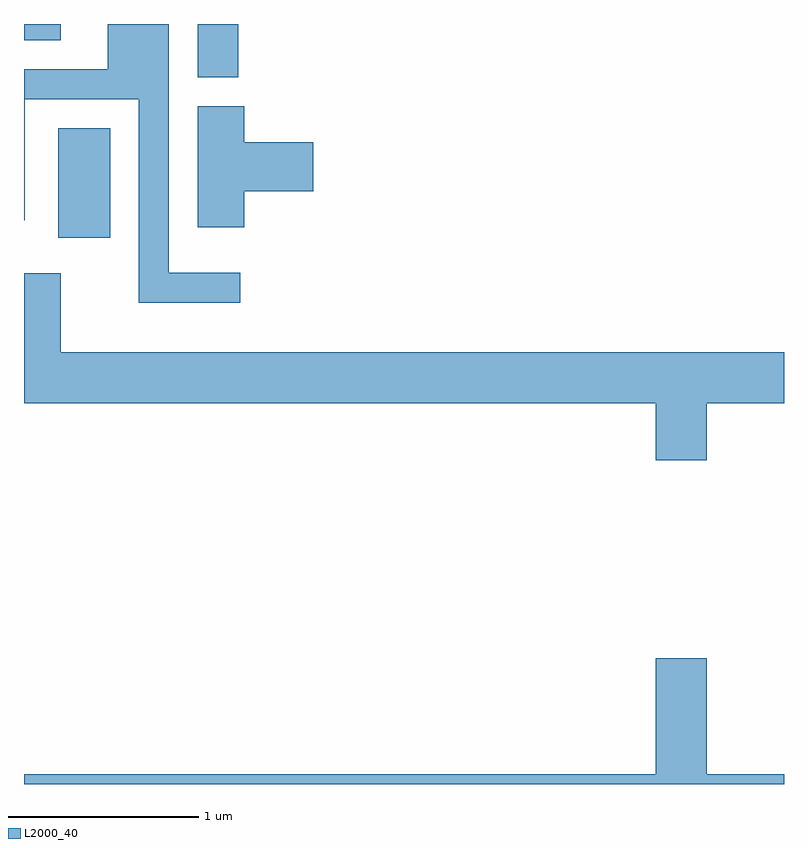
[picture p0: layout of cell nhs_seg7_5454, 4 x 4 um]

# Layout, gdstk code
import gdstk
lib = gdstk.Library(unit=1e-6, precision=1e-09)
def R(c, l, rs):  # rectangles x0, y0, x1, y1
    for r in rs: c.add(gdstk.rectangle(r[:2], r[2:], *l))
def P(c, l, *ps):  # polygons
    for p in ps: c.add(gdstk.Polygon(p, *l))
L2000_40 = (2000, 40)

nhs_seg7_5454 = lib.new_cell('nhs_seg7_5454')
R(nhs_seg7_5454, L2000_40, [(351.791,1775.126,352.064,1775.704), (352.526,1775.971,352.739,1776.252), (351.611,1776.166,351.804,1776.252)])
P(nhs_seg7_5454, L2000_40, [(352.748,1774.944),(352.374,1774.944),(352.374,1776.252),(352.051,1776.252),(352.051,1776.014),(351.611,1776.014),(351.611,1775.218),(351.614,1775.218),(351.614,1775.856),(352.216,1775.856),(352.216,1774.786),(352.748,1774.786)],
  [(352.769,1775.371),(353.134,1775.371),(353.134,1775.629),(352.769,1775.629),(352.769,1775.819),(352.526,1775.819),(352.526,1775.181),(352.769,1775.181)],
  [(355.204,1774.256),(355.611,1774.256),(355.611,1774.524),(351.804,1774.524),(351.804,1774.939),(351.611,1774.939),(351.611,1774.256),(354.936,1774.256),(354.936,1773.956),(355.204,1773.956)],
  [(355.611,1772.304),(355.204,1772.304),(355.204,1772.914),(354.936,1772.914),(354.936,1772.304),(351.611,1772.304),(351.611,1772.252),(355.611,1772.252)])

lib.write_gds('nhs_seg7_5454.gds')
